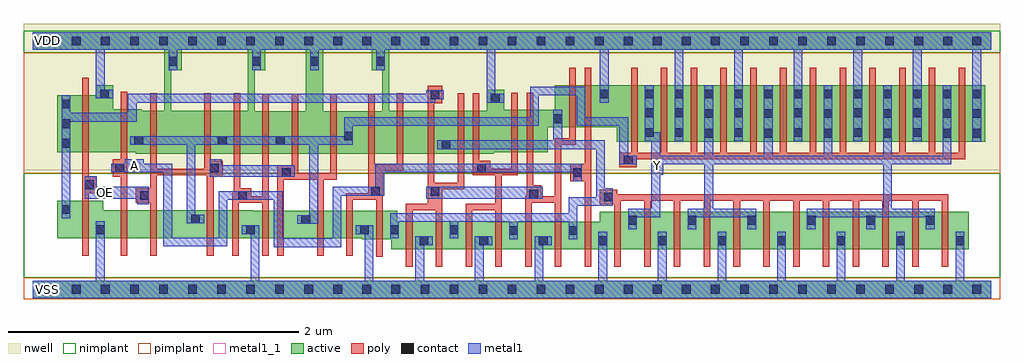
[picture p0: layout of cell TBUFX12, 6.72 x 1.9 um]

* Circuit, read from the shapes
.subckt TBUFX12 A OE VDD VSS Y
M1 VSS OE n1 VSS nfet w=0.26u l=0.045u
M2 n2 A VSS VSS nfet w=0.195u l=0.045u
M3 n3 OE n2 VSS nfet w=0.195u l=0.045u
M4 n4 OE n3 VSS nfet w=0.195u l=0.045u
M5 VSS A n4 VSS nfet w=0.195u l=0.045u
M6 n5 A VSS VSS nfet w=0.19u l=0.045u
M7 n3 OE n5 VSS nfet w=0.19u l=0.045u
M8 n6 OE n3 VSS nfet w=0.19u l=0.045u
M9 VSS A n6 VSS nfet w=0.19u l=0.045u
M10 n7 A VSS VSS nfet w=0.195u l=0.045u m=2
M11 VSS n1 n7 VSS nfet w=0.195u l=0.045u m=2
M12 n7 A VSS VSS nfet w=0.19u l=0.045u m=2
M13 VSS n1 n7 VSS nfet w=0.19u l=0.045u m=2
M14 Y n7 VSS VSS nfet w=0.26u l=0.045u m=12
M15 VDD OE n1 VDD pfet w=0.39u l=0.045u
M16 n3 A VDD VDD pfet w=0.295u l=0.045u m=2
M17 VDD OE n3 VDD pfet w=0.295u l=0.045u m=2
M18 n3 A VDD VDD pfet w=0.29u l=0.045u m=2
M19 VDD OE n3 VDD pfet w=0.29u l=0.045u m=2
M20 n8 A VDD VDD pfet w=0.295u l=0.045u
M21 n7 n1 n8 VDD pfet w=0.295u l=0.045u
M22 n9 n1 n7 VDD pfet w=0.295u l=0.045u
M23 VDD A n9 VDD pfet w=0.295u l=0.045u
M24 n10 A VDD VDD pfet w=0.29u l=0.045u
M25 n7 n1 n10 VDD pfet w=0.29u l=0.045u
M26 n11 n1 n7 VDD pfet w=0.29u l=0.045u
M27 VDD A n11 VDD pfet w=0.29u l=0.045u
M28 Y n3 VDD VDD pfet w=0.39u l=0.045u m=12
.ends

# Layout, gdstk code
import gdstk
lib = gdstk.Library(unit=1e-6, precision=5e-10)
def R(c, l, rs):  # rectangles x0, y0, x1, y1
    for r in rs: c.add(gdstk.rectangle(r[:2], r[2:], *l))
def A(c, l, x, y, w, h, nx, ny, dx, dy):  # array of equal rectangles
    R(c, l, [(x+i*dx, y+j*dy, x+i*dx+w, y+j*dy+h) for i in range(nx) for j in range(ny)])
def P(c, l, *ps):  # polygons
    for p in ps: c.add(gdstk.Polygon(p, *l))
active = (1, 0)
nwell = (2, 0)
poly = (3, 0)
nimplant = (4, 0)
pimplant = (5, 0)
contact = (6, 0)
metal1 = (7, 0)
metal1_1 = (7, 1)

tbufx12 = lib.new_cell('TBUFX12')
R(tbufx12, active, [(0,-0.06,6.6,0.06)])
P(tbufx12, active, [(0,1.77),(6.6,1.77),(6.6,1.65),(2.455,1.65),(2.455,1.23),(3.125,1.23),(3.125,1.375),(3.245,1.375),(3.245,1.235),(3.595,1.235),(3.595,1.405),(6.56,1.405),(6.56,1.015),(4.02,1.015),(4.02,1.115),(3.545,1.115),(3.545,0.945),(3.175,0.945),(3.175,0.935),(0.71,0.935),(0.71,0.945),(0.17,0.945),(0.17,1.335),(0.435,1.335),(0.435,1.405),(0.555,1.405),(0.555,1.24),(0.75,1.24),(0.75,1.23),(0.905,1.23),(0.905,1.65),(1.025,1.65),(1.025,1.51),(0.955,1.51),(0.955,1.23),(1.48,1.23),(1.48,1.65),(1.6,1.65),(1.6,1.51),(1.53,1.51),(1.53,1.225),(1.88,1.225),(1.88,1.65),(2,1.65),(2,1.225),(2.405,1.225),(2.405,1.51),(2.335,1.51),(2.335,1.65),(0,1.65)],
  [(0.17,0.61),(0.485,0.61),(0.485,0.545),(1.52,0.545),(1.52,0.54),(2.51,0.54),(2.51,0.47),(3.125,0.47),(3.125,0.465),(3.905,0.465),(3.905,0.535),(6.445,0.535),(6.445,0.275),(2.47,0.275),(2.47,0.345),(2.265,0.345),(2.265,0.35),(0.17,0.35)])
R(tbufx12, nwell, [(-0.06,0.82,6.66,1.83)])
P(tbufx12, poly, [(0.34,1.455),(0.385,1.455),(0.385,0.78),(0.44,0.78),(0.44,0.66),(0.385,0.66),(0.385,0.23),(0.34,0.23)],
  [(0.605,1.36),(0.65,1.36),(0.65,0.23),(0.605,0.23),(0.605,0.775),(0.55,0.775),(0.55,0.895),(0.605,0.895)],
  [(0.81,1.35),(0.855,1.35),(0.855,0.83),(1.18,0.83),(1.18,1.35),(1.225,1.35),(1.225,0.885),(1.31,0.885),(1.31,0.785),(1.245,0.785),(1.245,0.23),(1.2,0.23),(1.2,0.785),(0.855,0.785),(0.855,0.23),(0.81,0.23),(0.81,0.595),(0.71,0.595),(0.71,0.695),(0.81,0.695)],
  [(1.385,1.35),(1.43,1.35),(1.43,0.695),(1.505,0.695),(1.505,0.64),(1.58,0.64),(1.58,1.345),(1.625,1.345),(1.625,0.23),(1.58,0.23),(1.58,0.595),(1.42,0.595),(1.42,0.23),(1.375,0.23),(1.375,0.665),(1.385,0.665)],
  [(1.785,1.345),(1.83,1.345),(1.83,0.8),(2.05,0.8),(2.05,1.345),(2.095,1.345),(2.095,0.755),(2.005,0.755),(2.005,0.23),(1.96,0.23),(1.96,0.755),(1.73,0.755),(1.73,0.23),(1.685,0.23),(1.685,0.855),(1.785,0.855)],
  [(2.31,1.345),(2.355,1.345),(2.355,0.86),(2.505,0.86),(2.505,1.35),(2.55,1.35),(2.55,0.815),(2.41,0.815),(2.41,0.225),(2.365,0.225),(2.365,0.615),(2.205,0.615),(2.205,0.23),(2.16,0.23),(2.16,0.66),(2.31,0.66)],
  [(2.72,1.4),(2.82,1.4),(2.82,1.28),(2.765,1.28),(2.765,0.735),(2.925,0.735),(2.925,1.35),(2.97,1.35),(2.97,0.69),(2.82,0.69),(2.82,0.155),(2.775,0.155),(2.775,0.545),(2.615,0.545),(2.615,0.155),(2.57,0.155),(2.57,0.59),(2.72,0.59)],
  [(3.4,1.355),(3.445,1.355),(3.445,0.715),(3.5,0.715),(3.5,0.64),(3.595,0.64),(3.595,1.04),(3.695,1.04),(3.695,1.525),(3.74,1.525),(3.74,0.995),(3.64,0.995),(3.64,0.155),(3.595,0.155),(3.595,0.595),(3.435,0.595),(3.435,0.155),(3.39,0.155),(3.39,0.64),(3.4,0.64)],
  [(3.8,1.525),(3.845,1.525),(3.845,0.155),(3.8,0.155),(3.8,0.745),(3.7,0.745),(3.7,0.865),(3.8,0.865)],
  [(4.12,1.525),(4.165,1.525),(4.165,0.94),(4.325,0.94),(4.325,1.525),(4.37,1.525),(4.37,0.94),(4.53,0.94),(4.53,1.525),(4.575,1.525),(4.575,0.94),(4.735,0.94),(4.735,1.525),(4.78,1.525),(4.78,0.94),(4.94,0.94),(4.94,1.525),(4.985,1.525),(4.985,0.94),(5.145,0.94),(5.145,1.525),(5.19,1.525),(5.19,0.94),(5.35,0.94),(5.35,1.525),(5.395,1.525),(5.395,0.94),(5.555,0.94),(5.555,1.525),(5.6,1.525),(5.6,0.94),(5.76,0.94),(5.76,1.525),(5.805,1.525),(5.805,0.94),(5.965,0.94),(5.965,1.525),(6.01,1.525),(6.01,0.94),(6.17,0.94),(6.17,1.525),(6.215,1.525),(6.215,0.94),(6.375,0.94),(6.375,1.525),(6.42,1.525),(6.42,0.895),(4.16,0.895),(4.16,0.84),(4.04,0.84),(4.04,0.94),(4.12,0.94)],
  [(3.03,1.35),(3.075,1.35),(3.075,0.885),(3.15,0.885),(3.15,0.83),(3.295,0.83),(3.295,1.355),(3.34,1.355),(3.34,0.785),(3.23,0.785),(3.23,0.155),(3.185,0.155),(3.185,0.545),(3.025,0.545),(3.025,0.155),(2.98,0.155),(2.98,0.59),(3.185,0.59),(3.185,0.785),(3.03,0.785)],
  [(3.905,0.685),(4.025,0.685),(4.025,0.655),(6.305,0.655),(6.305,0.155),(6.26,0.155),(6.26,0.61),(6.1,0.61),(6.1,0.155),(6.055,0.155),(6.055,0.61),(5.895,0.61),(5.895,0.155),(5.85,0.155),(5.85,0.61),(5.69,0.61),(5.69,0.155),(5.645,0.155),(5.645,0.61),(5.485,0.61),(5.485,0.155),(5.44,0.155),(5.44,0.61),(5.28,0.61),(5.28,0.155),(5.235,0.155),(5.235,0.61),(5.075,0.61),(5.075,0.155),(5.03,0.155),(5.03,0.61),(4.87,0.61),(4.87,0.155),(4.825,0.155),(4.825,0.61),(4.665,0.61),(4.665,0.155),(4.62,0.155),(4.62,0.61),(4.46,0.61),(4.46,0.155),(4.415,0.155),(4.415,0.61),(4.255,0.61),(4.255,0.155),(4.21,0.155),(4.21,0.61),(4.05,0.61),(4.05,0.155),(4.005,0.155),(4.005,0.585),(3.905,0.585)])
R(tbufx12, nimplant, [(-0.06,0.08,6.66,0.8), (-0.06,1.63,6.66,1.78)])
R(tbufx12, pimplant, [(-0.06,-0.07,6.66,0.08), (-0.06,0.8,6.66,1.63)])
A(tbufx12, contact, 0.07, -0.03, 0.06, 0.06, 33, 2, 0.2, 1.71)
A(tbufx12, contact, 2.665, 0.305, 0.06, 0.06, 10, 1, 0.41, 0)
A(tbufx12, contact, 4.1, 0.445, 0.06, 0.06, 6, 1, 0.41, 0)
A(tbufx12, contact, 0.2, 0.975, 0.06, 0.06, 1, 3, 0, 0.135)
A(tbufx12, contact, 4.625, 1.045, 0.06, 0.06, 5, 2, 0.41, 0.135)
A(tbufx12, contact, 4.42, 1.05, 0.06, 0.06, 5, 2, 0.41, 0.135)
A(tbufx12, contact, 4.215, 1.315, 0.06, 0.06, 12, 1, 0.205, 0)
R(tbufx12, contact, [(3.28,0.375,3.34,0.435), (3.69,0.375,3.75,0.435), (0.435,0.38,0.495,0.44), (1.47,0.38,1.53,0.44), (2.255,0.38,2.315,0.44), (2.46,0.38,2.52,0.44), (2.87,0.38,2.93,0.44), (1.85,0.45,1.91,0.51), (1.09,0.455,1.15,0.515), (0.2,0.52,0.26,0.58), (3.935,0.605,3.995,0.665), (0.74,0.615,0.8,0.675), (1.415,0.615,1.475,0.675), (3.42,0.625,3.48,0.685), (2.33,0.645,2.39,0.705), (2.74,0.645,2.8,0.705), (0.36,0.69,0.42,0.75), (1.715,0.775,1.775,0.835), (3.72,0.775,3.78,0.835), (0.57,0.805,0.63,0.865), (1.22,0.805,1.28,0.865), (3.06,0.805,3.12,0.865), (4.07,0.86,4.13,0.92), (2.815,0.965,2.875,1.025), (0.7,0.995,0.76,1.055), (1.275,0.995,1.335,1.055), (1.675,0.995,1.735,1.055), (2.145,1.025,2.205,1.085), (6.47,1.045,6.53,1.105), (4.215,1.05,4.275,1.11), (3.585,1.145,3.645,1.205), (6.47,1.18,6.53,1.24), (4.215,1.185,4.275,1.245), (3.155,1.285,3.215,1.345), (2.74,1.31,2.8,1.37), (0.465,1.315,0.525,1.375), (3.905,1.315,3.965,1.375), (0.935,1.54,0.995,1.6), (1.51,1.54,1.57,1.6), (1.91,1.54,1.97,1.6), (2.365,1.54,2.425,1.6)])
R(tbufx12, metal1, [(2.71,0.625,3.51,0.705)])
P(tbufx12, metal1, [(0,1.77),(6.6,1.77),(6.6,1.65),(6.53,1.65),(6.53,1.015),(6.47,1.015),(6.47,1.65),(6.12,1.65),(6.12,1.02),(6.06,1.02),(6.06,1.65),(5.71,1.65),(5.71,1.02),(5.65,1.02),(5.65,1.65),(5.3,1.65),(5.3,1.02),(5.24,1.02),(5.24,1.65),(4.89,1.65),(4.89,1.02),(4.83,1.02),(4.83,1.65),(4.48,1.65),(4.48,1.02),(4.42,1.02),(4.42,1.65),(3.965,1.65),(3.965,1.285),(3.905,1.285),(3.905,1.65),(3.185,1.65),(3.185,1.345),(3.245,1.345),(3.245,1.285),(3.125,1.285),(3.125,1.65),(2.425,1.65),(2.425,1.51),(2.365,1.51),(2.365,1.65),(1.97,1.65),(1.97,1.51),(1.91,1.51),(1.91,1.65),(1.57,1.65),(1.57,1.51),(1.51,1.51),(1.51,1.65),(0.995,1.65),(0.995,1.51),(0.935,1.51),(0.935,1.65),(0.495,1.65),(0.495,1.375),(0.555,1.375),(0.555,1.315),(0.435,1.315),(0.435,1.65),(0,1.65)],
  [(2.71,1.37),(2.83,1.37),(2.83,1.31),(2.77,1.31),(2.77,1.285),(0.715,1.285),(0.715,1.155),(0.26,1.155),(0.26,0.49),(0.2,0.49),(0.2,1.335),(0.26,1.335),(0.26,1.215),(0.655,1.215),(0.655,1.345),(2.71,1.345)],
  [(3.425,1.395),(3.805,1.395),(3.805,1.185),(4.1,1.185),(4.1,0.92),(4.16,0.92),(4.16,0.86),(4.04,0.86),(4.04,1.125),(3.745,1.125),(3.745,1.335),(3.485,1.335),(3.485,1.125),(2.205,1.125),(2.205,0.995),(1.965,0.995),(1.965,0.45),(1.82,0.45),(1.82,0.51),(1.905,0.51),(1.905,0.995),(1.12,0.995),(1.12,0.515),(1.18,0.515),(1.18,0.455),(1.06,0.455),(1.06,0.995),(0.67,0.995),(0.67,1.055),(2.145,1.055),(2.145,1.185),(3.425,1.185)],
  [(3.585,1.235),(3.645,1.235),(3.645,1.025),(3.94,1.025),(3.94,0.695),(3.995,0.695),(3.995,0.575),(3.75,0.575),(3.75,0.345),(3.69,0.345),(3.69,0.465),(3.34,0.465),(3.34,0.345),(3.28,0.345),(3.28,0.465),(2.93,0.465),(2.93,0.35),(2.87,0.35),(2.87,0.465),(2.52,0.465),(2.52,0.35),(2.46,0.35),(2.46,0.525),(3.69,0.525),(3.69,0.635),(3.88,0.635),(3.88,0.965),(2.785,0.965),(2.785,1.025),(3.585,1.025)],
  [(4.215,1.405),(4.275,1.405),(4.275,1.08),(4.32,1.08),(4.32,0.92),(4.625,0.92),(4.625,1.405),(4.685,1.405),(4.685,0.92),(5.035,0.92),(5.035,1.405),(5.095,1.405),(5.095,0.92),(5.445,0.92),(5.445,1.405),(5.505,1.405),(5.505,0.92),(5.855,0.92),(5.855,1.405),(5.915,1.405),(5.915,0.92),(6.265,0.92),(6.265,1.405),(6.325,1.405),(6.325,0.86),(5.915,0.86),(5.915,0.555),(6.21,0.555),(6.21,0.415),(6.15,0.415),(6.15,0.495),(5.8,0.495),(5.8,0.415),(5.74,0.415),(5.74,0.495),(5.39,0.495),(5.39,0.415),(5.33,0.415),(5.33,0.555),(5.855,0.555),(5.855,0.86),(4.685,0.86),(4.685,0.555),(4.98,0.555),(4.98,0.415),(4.92,0.415),(4.92,0.495),(4.57,0.495),(4.57,0.415),(4.51,0.415),(4.51,0.555),(4.625,0.555),(4.625,0.86),(4.34,0.86),(4.34,0.79),(4.32,0.79),(4.32,0.495),(4.16,0.495),(4.16,0.415),(4.1,0.415),(4.1,0.555),(4.26,0.555),(4.26,1.02),(4.215,1.02)],
  [(0.635,0.895),(0.765,0.895),(0.765,0.865),(0.96,0.865),(0.96,0.355),(1.28,0.355),(1.28,0.675),(1.72,0.675),(1.72,0.35),(2.065,0.35),(2.065,0.705),(2.36,0.705),(2.36,0.865),(3.78,0.865),(3.78,0.745),(3.72,0.745),(3.72,0.805),(2.42,0.805),(2.42,0.645),(2.125,0.645),(2.125,0.29),(1.66,0.29),(1.66,0.615),(1.34,0.615),(1.34,0.295),(0.9,0.295),(0.9,0.805),(0.54,0.805),(0.54,0.865),(0.635,0.865)],
  [(0.36,0.78),(0.44,0.78),(0.44,0.705),(0.8,0.705),(0.8,0.585),(0.72,0.585),(0.72,0.625),(0.36,0.625)],
  [(0.435,0.47),(0.495,0.47),(0.495,0.06),(1.5,0.06),(1.5,0.38),(1.44,0.38),(1.44,0.44),(1.56,0.44),(1.56,0.06),(2.285,0.06),(2.285,0.38),(2.225,0.38),(2.225,0.44),(2.345,0.44),(2.345,0.06),(2.635,0.06),(2.635,0.365),(2.755,0.365),(2.755,0.305),(2.695,0.305),(2.695,0.06),(3.045,0.06),(3.045,0.365),(3.165,0.365),(3.165,0.305),(3.105,0.305),(3.105,0.06),(3.455,0.06),(3.455,0.365),(3.575,0.365),(3.575,0.305),(3.515,0.305),(3.515,0.06),(3.895,0.06),(3.895,0.395),(3.955,0.395),(3.955,0.06),(4.305,0.06),(4.305,0.395),(4.365,0.395),(4.365,0.06),(4.715,0.06),(4.715,0.395),(4.775,0.395),(4.775,0.06),(5.125,0.06),(5.125,0.395),(5.185,0.395),(5.185,0.06),(5.535,0.06),(5.535,0.395),(5.595,0.395),(5.595,0.06),(5.945,0.06),(5.945,0.395),(6.005,0.395),(6.005,0.06),(6.355,0.06),(6.355,0.395),(6.415,0.395),(6.415,0.06),(6.6,0.06),(6.6,-0.06),(0,-0.06),(0,0.06),(0.435,0.06)],
  [(1.22,0.895),(1.3,0.895),(1.3,0.855),(1.805,0.855),(1.805,0.775),(1.22,0.775)])
R(tbufx12, metal1_1, [(0.06,-0.04,0.14,0.04), (0.46,0.625,0.54,0.705), (0.66,0.815,0.74,0.895), (4.26,0.815,4.34,0.895), (0.06,1.67,0.14,1.75)])
tbufx12.add(gdstk.Label('Y', (4.3,0.855), layer=7, texttype=1))
tbufx12.add(gdstk.Label('A', (0.7,0.855), layer=7, texttype=1))
tbufx12.add(gdstk.Label('OE', (0.5,0.665), layer=7, texttype=1))
tbufx12.add(gdstk.Label('VDD', (0.1,1.71), layer=7, texttype=1))
tbufx12.add(gdstk.Label('VSS', (0.1,0), layer=7, texttype=1))
tbufx12.add(gdstk.Label('TBUFX12', (0,0), layer=63, texttype=0))

lib.write_gds('TBUFX12.gds')
